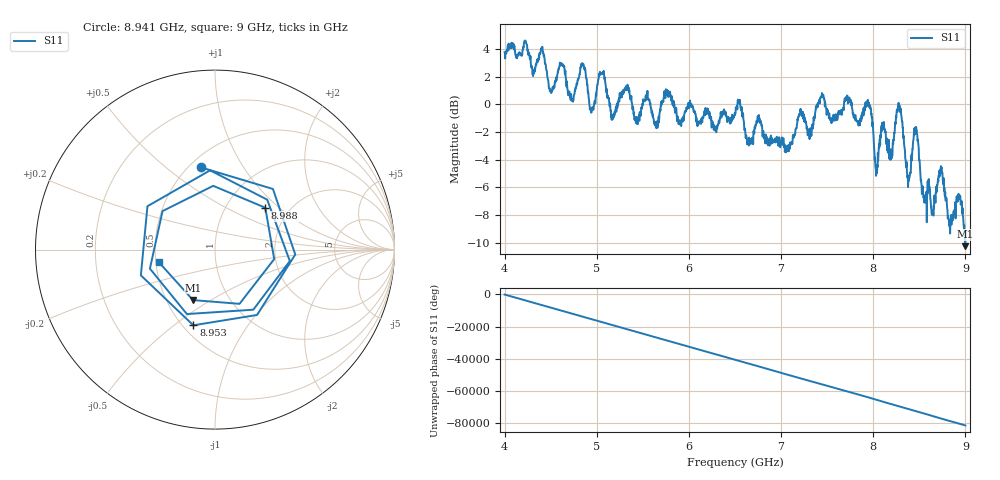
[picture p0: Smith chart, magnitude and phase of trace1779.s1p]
! Created with skrf 1.8.0 (http://scikit-rf.org).
# Hz S RI R 50.0
!freq ReS11 ImS11
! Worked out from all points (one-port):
!   1601 points, 4 GHz to 9 GHz, reference 50 ohm
!   lowest |S11| = -10.3 dB at 8.997 GHz (marker M1), VSWR 1.89, Z = 33.8 - j21 ohm
!   |S11| at or under -10 dB: 8.995835 GHz to 8.999189 GHz (3.354 MHz wide, 0.0373 % of centre)
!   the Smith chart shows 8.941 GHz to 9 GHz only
!   S11 on the Smith chart (normalised r, x): 8.941 GHz: 0.57, +0.67; 8.953 GHz: 0.56, -0.59; 8.988 GHz: 1.51, +0.81; 9 GHz: 0.52, -0.08
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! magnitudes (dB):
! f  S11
! 4 GHz  3.8
! 4.406 GHz  4.0
! 4.506 GHz  0.8
! 4.625 GHz  2.9
! 4.731 GHz  0.4
! 4.847 GHz  2.9
! 4.944 GHz  -0.4
! 5.05 GHz  2.2
! 5.172 GHz  -1.1
! 5.25 GHz  0.8
! 5.875 GHz  -0.9
! 6.5 GHz  -0.8
! 7.125 GHz  -2.6
! 7.75 GHz  0.3
! 7.956 GHz  -0.1
! 8.034 GHz  -4.8
! 8.197 GHz  -3.6
! 8.281 GHz  -0.1
! 8.375 GHz  -5.1
! 8.459 GHz  -1.7
! 8.559 GHz  -6.6
! 8.734 GHz  -4.5
! 8.834 GHz  -9.3
! 8.941 GHz  -6.7
! 8.953 GHz  -7.2
! 8.988 GHz  -8.8
! 8.997 GHz  -10.3
! 9 GHz  -9.9
